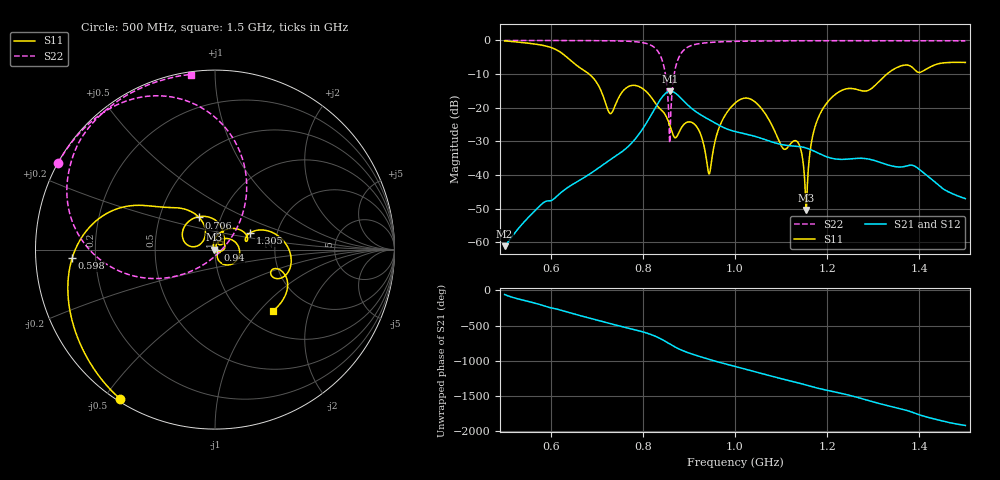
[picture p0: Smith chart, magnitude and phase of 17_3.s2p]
! TOUCHSTONE file generated by CST MICROWAVE STUDIO
! Date and time: Fri Oct 30 07:55:00 2020
! Project name: Scenario_1_Circular_Tissue_out_of_Line.cst
! Parameters = {dy1=-68.544; L_HA=400; MT=2.54; Rad_Dielectric=30; Rad_Lower=7.3; Rad_Upper=30; a_HA=580; a_WG=246; b_HA=500; b_WG=121; c_HA=0; c_WG=187; d_feed=85; dx1=520; h_feed=15; h_lower=18; h_upper=40}
! Header version: 2018
! Port assignment regex: !\s*Touchstone port\s*([0-9]+)\s*=\s*(CST MWS port|CST DS port)\s*([0-9]+|Zmin|Zmax)\s*\(\"(.*)\"\)(\s*mode\s*([0-9]+))?.*
! Touchstone port assignment:
! Touchstone port 1 = CST MWS port 1 ("")
! Touchstone port 2 = CST MWS port 2 ("")
# GHz S DB R 50
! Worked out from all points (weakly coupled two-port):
!   1001 points, 500 MHz to 1.5 GHz, reference 50 ohm
!   highest |S21| = -15.09 dB at 860 MHz (marker M1); lowest = -61.2 dB at 500 MHz (marker M2)
!   lowest |S11| = -50.4 dB at 1.155 GHz (marker M3), VSWR 1.01, Z = 49.7 - j0.0257 ohm
!   |S11| at or under -10 dB: 683.4 MHz to 1.33 GHz (646.2 MHz wide, 64.2 % of centre)
!   |S22| runs from -30.5 to 0.0 dB; largest |S21 - S12| = 4.2e-05
!   S11 on the Smith chart (normalised r, x): 500 MHz: 0.01, -0.55; 598 MHz: 0.11, -0.03; 706 MHz: 0.79, +0.29; 940 MHz: 1.03, -0.00; 1.305 GHz: 1.46, +0.29; 1.5 GHz: 1.35, -1.19
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0.5  -0.13 -122.5  -61.15 -60.5  -61.15 -60.5  -0.01 151.1
0.598  -1.98 -176.7  -47.67 114.9  -47.62 115.2  -0.02 144.3
0.667  -8.44 141.3  -41.21 -4.8  -41.21 -4.8  -0.04 138.4
0.706  -14.00 116.3  -37.69 -71.6  -37.69 -71.6  -0.07 134.1
0.729  -21.73 142.7  -35.48 -111.9  -35.48 -111.9  -0.10 131.0
0.777  -13.38 139.8  -30.31 169.7  -30.31 169.7  -0.31 121.1
0.834  -19.87 64.2  -18.44 47.8  -18.44 47.8  -3.50 84.0
0.86  -25.86 37.2  -15.09 -47.0  -15.09 -47.0  -24.12 -113.6
0.869  -28.85 50.1  -15.51 -80.7  -15.51 -80.7  -9.30 -152.1
0.881  -26.63 65.1  -16.93 -119.9  -16.93 -119.9  -4.28 -172.4
0.916  -25.49 7.0  -21.25 156.2  -21.25 156.2  -1.10 159.6
0.94  -37.27 -5.5  -23.25 107.9  -23.25 107.9  -0.67 151.3
1  -18.64 23.2  -27.07 1.2  -27.07 1.2  -0.27 140.2
1.047  -18.69 -46.9  -28.66 -82.0  -28.66 -82.0  -0.18 134.7
1.106  -32.29 -45.4  -31.06 179.4  -31.06 179.4  -0.12 129.2
1.135  -30.07 -31.7  -31.47 131.3  -31.47 131.3  -0.11 126.8
1.155  -50.35 -175.1  -31.99 94.8  -31.99 94.8  -0.10 125.2
1.167  -29.44 104.6  -32.62 73.2  -32.62 73.2  -0.10 124.2
1.214  -16.46 51.6  -35.14 1.8  -35.14 1.8  -0.08 120.5
1.305  -13.23 25.5  -35.80 -151.8  -35.80 -151.8  -0.08 113.7
1.334  -9.53 16.6  -37.09 159.4  -37.09 159.4  -0.09 111.5
1.5  -6.55 -46.7  -47.02 -116.7  -47.04 -116.5  -0.13 97.8
